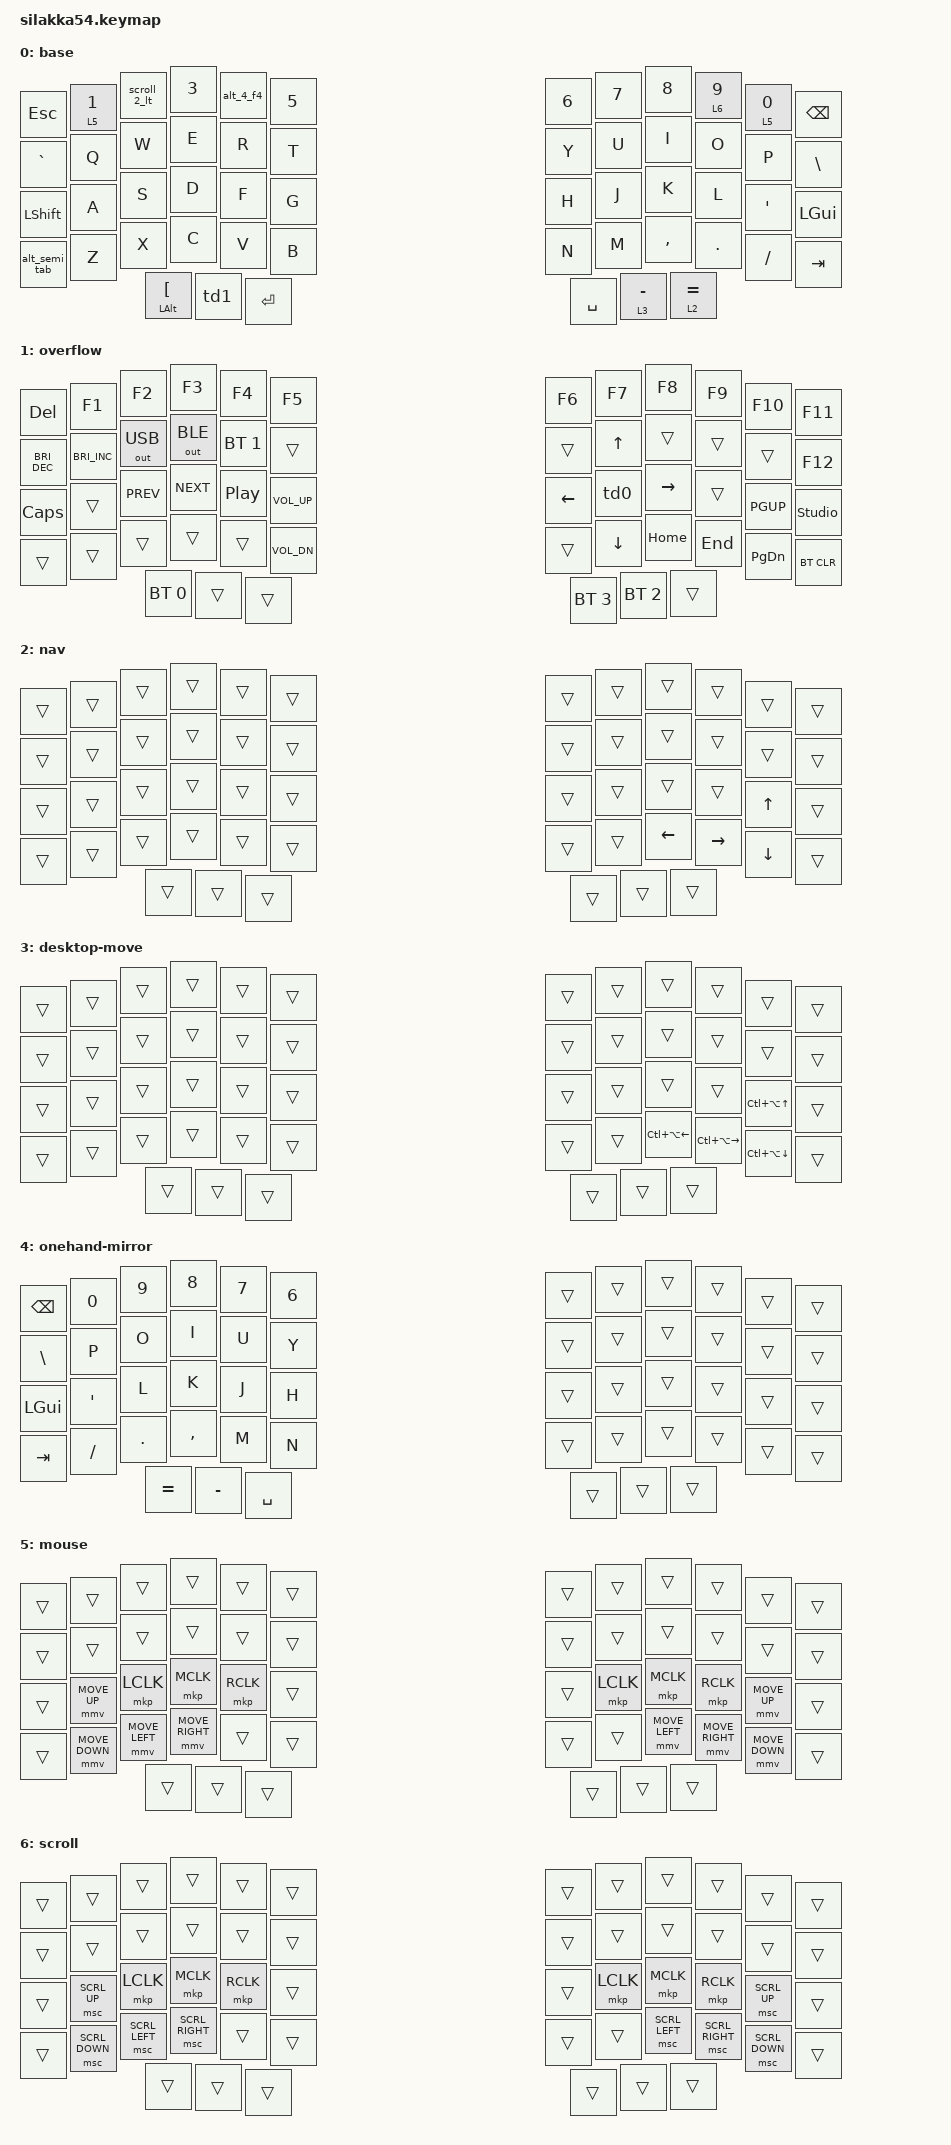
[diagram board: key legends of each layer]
#include <behaviors.dtsi>
#include <dt-bindings/zmk/bt.h>
#include <dt-bindings/zmk/keys.h>
#include <dt-bindings/zmk/outputs.h>
#define ZMK_POINTING_DEFAULT_MOVE_VAL 1400
#include <dt-bindings/zmk/pointing.h>

&mmv {
    time-to-max-speed-ms = <300>;
    acceleration-exponent = <2>;
    delay-ms = <0>;
};

&msc {
    time-to-max-speed-ms = <0>;
    acceleration-exponent = <0>;
    delay-ms = <0>;
};

/ {
    behaviors {
        #include "macros.dtsi"

        td0: td_0 {
            compatible = "zmk,behavior-tap-dance";
            label = "TD_0";
            #binding-cells = <0>;
            tapping-term-ms = <200>;
            bindings = <&kp PRINTSCREEN>, <&m2>;
        };

        fn_lt: fn_layer_tap {
            compatible = "zmk,behavior-hold-tap";
            label = "FN_LAYER_TAP";
            #binding-cells = <2>;
            flavor = "hold-preferred";
            tapping-term-ms = <200>;
            bindings = <&mo>, <&kp>;
        };

        alt_2_f2: alt_2_f2 {
            compatible = "zmk,behavior-mod-morph";
            label = "ALT_2_F2";
            #binding-cells = <0>;
            bindings = <&kp N2>, <&kp F2>;
            mods = <(MOD_LALT|MOD_RALT)>;
            keep-mods = <(MOD_LALT|MOD_RALT)>;
        };

        alt_4_f4: alt_4_f4 {
            compatible = "zmk,behavior-mod-morph";
            label = "ALT_4_F4";
            #binding-cells = <0>;
            bindings = <&kp N4>, <&kp F4>;
            mods = <(MOD_LALT|MOD_RALT)>;
            keep-mods = <(MOD_LALT|MOD_RALT)>;
        };

        scroll_2_lt: scroll_2_layer_tap {
            compatible = "zmk,behavior-mod-morph";
            label = "SCROLL_2_LAYER_TAP";
            #binding-cells = <0>;
            bindings = <&fn_lt 6 N2>, <&kp F2>;
            mods = <(MOD_LALT|MOD_RALT)>;
            keep-mods = <(MOD_LALT|MOD_RALT)>;
        };

        alt_semi_tab: alt_semi_tab {
            compatible = "zmk,behavior-mod-morph";
            label = "ALT_SEMI_TAB";
            #binding-cells = <0>;
            bindings = <&mt LCTRL SEMI>, <&kp TAB>;
            mods = <(MOD_LALT|MOD_RALT)>;
            keep-mods = <(MOD_LALT|MOD_RALT)>;
        };

        td1: td_1 {
            compatible = "zmk,behavior-tap-dance";
            label = "TD_1";
            #binding-cells = <0>;
            tapping-term-ms = <200>;
            bindings = <&fn_lt 1 RBKT>, <&sl 4>;
        };
    };

    combos {
        compatible = "zmk,combos";

        combo_hj_left {
            timeout-ms = <50>;
            key-positions = <30 31>;
            bindings = <&kp LEFT>;
        };

        combo_ju_up {
            timeout-ms = <50>;
            key-positions = <31 19>;
            bindings = <&kp UP>;
        };

        combo_jk_right {
            timeout-ms = <50>;
            key-positions = <31 32>;
            bindings = <&kp RIGHT>;
        };

        combo_jm_down {
            timeout-ms = <50>;
            key-positions = <31 43>;
            bindings = <&kp DOWN>;
        };
    };

    keymap {
        compatible = "zmk,keymap";

        layer_0 {
            display-name = "base";
            bindings = <
&kp ESCAPE        &fn_lt 5 N1   &scroll_2_lt &kp N3      &alt_4_f4   &kp N5       &kp N6       &kp N7      &kp N8      &fn_lt 6 N9 &fn_lt 5 N0 &kp BACKSPACE
&kp GRAVE         &kp Q         &kp W       &kp E       &kp R       &kp T        &kp Y        &kp U       &kp I       &kp O       &kp P       &kp BSLH
&kp LSHIFT        &kp A         &kp S       &kp D       &kp F       &kp G        &kp H        &kp J       &kp K       &kp L       &kp SQT     &kp LGUI
&alt_semi_tab     &kp Z         &kp X       &kp C       &kp V       &kp B        &kp N        &kp M       &kp COMMA   &kp DOT     &kp FSLH    &kp TAB
                                          &mt LALT LBKT  &td1         &kp ENTER    &kp SPACE   &fn_lt 3 MINUS &fn_lt 2 EQUAL
            >;
        };

        layer_2 {
            display-name = "overflow";
            bindings = <
&kp DEL                 &kp F1              &kp F2      &kp F3      &kp F4      &kp F5       &kp F6         &kp F7      &kp F8      &kp F9      &kp F10     &kp F11
&kp C_BRIGHTNESS_DEC    &kp C_BRIGHTNESS_INC &out OUT_USB &out OUT_BLE &bt BT_SEL 1 &trans       &trans         &kp UP      &trans      &trans      &trans      &kp F12
&kp CAPSLOCK            &trans              &kp C_PREV  &kp C_NEXT  &kp C_PLAY_PAUSE &kp C_VOL_UP &kp LEFT  &td0        &kp RIGHT   &trans      &kp PGUP    &studio_unlock
&trans                  &trans              &trans      &trans      &trans      &kp C_VOL_DN &trans         &kp DOWN    &kp HOME    &kp END     &kp PG_DN   &bt BT_CLR
                                              &bt BT_SEL 0   &trans      &trans        &bt BT_SEL 3 &bt BT_SEL 2  &trans
            >;
        };

        layer_nav {
            display-name = "nav";
            bindings = <
&trans            &trans        &trans      &trans      &trans      &trans       &trans       &trans      &trans      &trans      &trans      &trans
&trans            &trans        &trans      &trans      &trans      &trans       &trans       &trans      &trans      &trans      &trans      &trans
&trans            &trans        &trans      &trans      &trans      &trans       &trans       &trans      &trans      &trans      &kp UP      &trans
&trans            &trans        &trans      &trans      &trans      &trans       &trans       &trans      &kp LEFT    &kp RIGHT   &kp DOWN    &trans
                                          &trans         &trans       &trans       &trans      &trans       &trans
            >;
        };

        layer_desktop {
            display-name = "desktop-move";
            bindings = <
&trans            &trans        &trans      &trans      &trans      &trans       &trans       &trans      &trans      &trans      &trans      &trans
&trans            &trans        &trans      &trans      &trans      &trans       &trans       &trans      &trans      &trans      &trans      &trans
&trans            &trans        &trans      &trans      &trans      &trans       &trans       &trans      &trans      &trans      &kp LC(LA(UP)) &trans
&trans            &trans        &trans      &trans      &trans      &trans       &trans       &trans      &kp LC(LA(LEFT)) &kp LC(LA(RIGHT)) &kp LC(LA(DOWN)) &trans
                                          &trans         &trans       &trans       &trans      &trans       &trans
            >;
        };

        layer_onehand_mirror {
            display-name = "onehand-mirror";
            bindings = <
&kp BACKSPACE     &kp N0        &kp N9      &kp N8      &kp N7      &kp N6       &trans       &trans      &trans      &trans      &trans      &trans
&kp BSLH          &kp P         &kp O       &kp I       &kp U       &kp Y        &trans       &trans      &trans      &trans      &trans      &trans
&kp LGUI          &kp SQT       &kp L       &kp K       &kp J       &kp H        &trans       &trans      &trans      &trans      &trans      &trans
&kp TAB           &kp FSLH      &kp DOT     &kp COMMA   &kp M       &kp N        &trans       &trans      &trans      &trans      &trans      &trans
                                          &kp EQUAL      &kp MINUS    &kp SPACE    &trans      &trans       &trans
            >;
        };

        layer_mouse {
            display-name = "mouse";
            bindings = <
&trans            &trans           &trans           &trans       &trans       &trans       &trans       &trans      &trans      &trans      &trans      &trans
&trans            &trans           &trans           &trans       &trans       &trans       &trans       &trans      &trans      &trans      &trans      &trans
&trans            &mmv MOVE_UP     &mkp LCLK        &mkp MCLK    &mkp RCLK    &trans       &trans       &mkp LCLK   &mkp MCLK   &mkp RCLK   &mmv MOVE_UP &trans
&trans            &mmv MOVE_DOWN   &mmv MOVE_LEFT   &mmv MOVE_RIGHT &trans    &trans       &trans       &trans      &mmv MOVE_LEFT &mmv MOVE_RIGHT &mmv MOVE_DOWN &trans
                                          &trans            &trans           &trans       &trans      &trans       &trans
            >;
        };

        layer_scroll {
            display-name = "scroll";
            bindings = <
&trans            &trans           &trans           &trans       &trans       &trans       &trans       &trans      &trans      &trans      &trans      &trans
&trans            &trans           &trans           &trans       &trans       &trans       &trans       &trans      &trans      &trans      &trans      &trans
&trans            &msc SCRL_UP     &mkp LCLK        &mkp MCLK    &mkp RCLK    &trans       &trans       &mkp LCLK   &mkp MCLK   &mkp RCLK   &msc SCRL_UP &trans
&trans            &msc SCRL_DOWN   &msc SCRL_LEFT   &msc SCRL_RIGHT &trans    &trans       &trans       &trans      &msc SCRL_LEFT &msc SCRL_RIGHT &msc SCRL_DOWN &trans
                                          &trans            &trans           &trans       &trans      &trans       &trans
            >;
        };
    };
};
